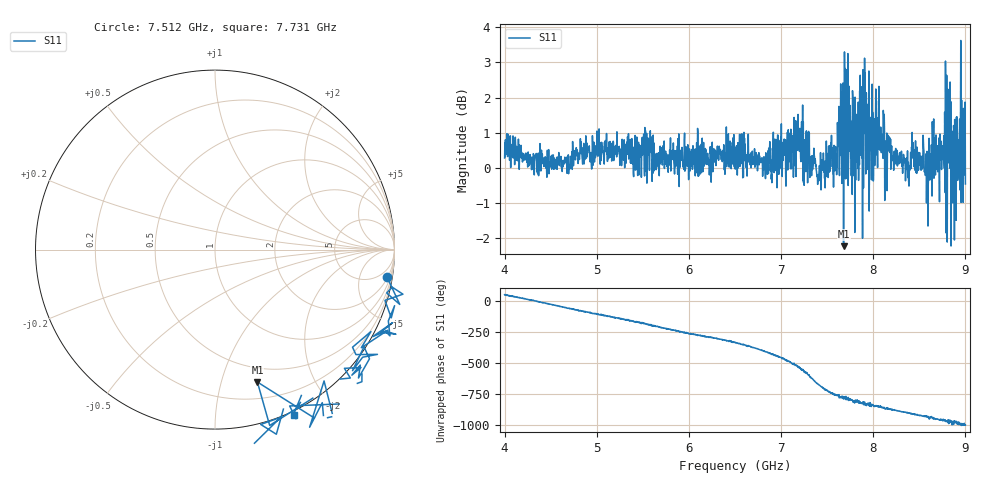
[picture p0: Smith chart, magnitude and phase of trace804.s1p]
! Created with skrf 1.8.0 (http://scikit-rf.org).
# Hz S RI R 50.0
!freq ReS11 ImS11
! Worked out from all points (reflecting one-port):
!   1601 points, 4 GHz to 9 GHz, reference 50 ohm
!   lowest |S11| = -2.2 dB at 7.678 GHz (marker M1), VSWR 7.87, Z = 17.7 - j65.4 ohm
!   phase of S11 starts at 51 deg and turns -1053 deg over the sweep
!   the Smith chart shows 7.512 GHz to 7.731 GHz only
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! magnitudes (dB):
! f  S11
! 4 GHz  0.3
! 4.625 GHz  -0.1
! 5.25 GHz  0.1
! 5.875 GHz  0.6
! 6.5 GHz  0.4
! 6.825 GHz  0.0
! 7.125 GHz  0.8
! 7.209 GHz  0.7
! 7.262 GHz  0.4
! 7.412 GHz  -0.1
! 7.584 GHz  -0.1
! 7.647 GHz  2.4
! 7.678 GHz  -2.2
! 7.75 GHz  1.8
! 7.825 GHz  1.4
! 7.844 GHz  0.9
! 7.928 GHz  1.2
! 7.956 GHz  -1.2
! 8.05 GHz  1.4
! 8.375 GHz  0.0
! 8.441 GHz  0.0
! 8.603 GHz  -0.3
! 8.656 GHz  1.4
! 8.766 GHz  0.9
! 8.809 GHz  2.2
! 8.869 GHz  -0.2
! 8.972 GHz  0.4
! 9 GHz  -0.5
